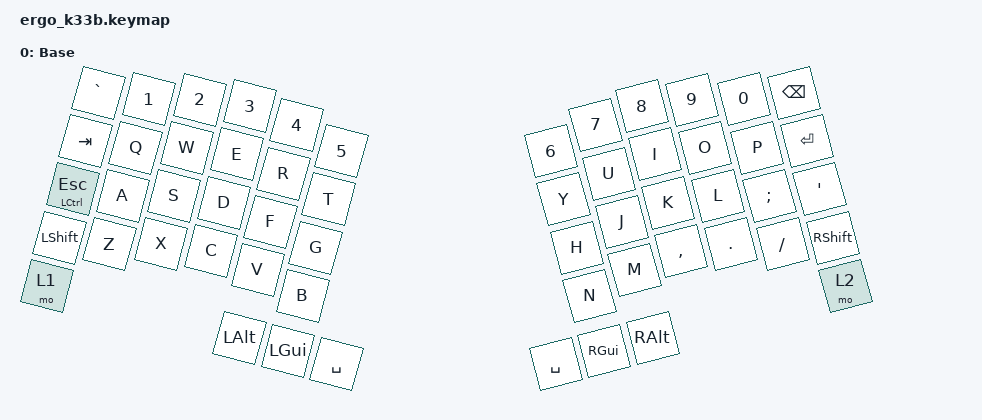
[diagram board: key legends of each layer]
#include <behaviors.dtsi>
#include <dt-bindings/zmk/keys.h>

/ {
    keymap {
        compatible = "zmk,keymap";

        default_layer {
            display-name = "Base";
// ----------------------------------------------------------------------------------
// |  `       |  1  |  2  |  3   |  4  |   5   |   6   |  7  |  8  |  9  |  0  | BSPC  |
// |  TAB     |  Q  |  W  |  E   |  R  |   T   |   Y   |  U  |  I  |  O  |  P  | RET   |
// | ESC_CTRL |  A  |  S  |  D   |  F  |   G   |   H   |  J  |  K  |  L  |  ;  |   '   |
// | SHIFT    |  Z  |  X  |  C   |  V  |   B   |   N   |  M  |  ,  |  .  |  /  | SHIFT |
// | LOWER    |     |     | ALT  | GUI | SPACE | SPACE | GUI | ALT |     |     | RAISE |
            bindings = <
&kp GRAVE     &kp N1 &kp N2 &kp N3   &kp N4   &kp N5    &kp N6    &kp N7   &kp N8    &kp N9  &kp N0   &kp BSPC 
&kp TAB       &kp Q  &kp W  &kp E    &kp R    &kp T     &kp Y     &kp U    &kp I     &kp O   &kp P    &kp RET
&mt LCTRL ESC &kp A  &kp S  &kp D    &kp F    &kp G     &kp H     &kp J    &kp K     &kp L   &kp SEMI &kp SQT
&kp LSHFT     &kp Z  &kp X  &kp C    &kp V    &kp B     &kp N     &kp M    &kp COMMA &kp DOT &kp FSLH &kp RSHFT
&mo 1                       &kp LALT &kp LGUI &kp SPACE &kp SPACE &kp RGUI &kp RALT                   &mo 2
            >;
        };
    };
};
